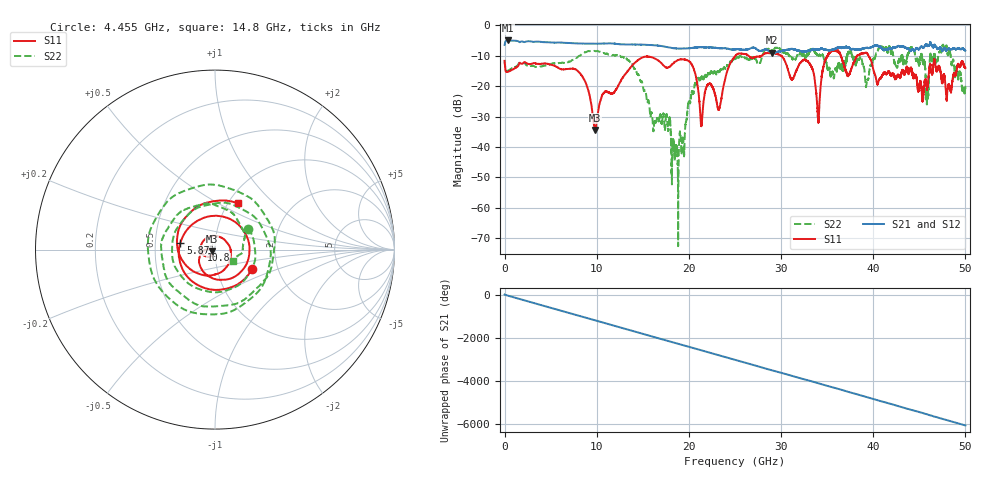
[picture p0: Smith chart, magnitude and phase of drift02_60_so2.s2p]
!Created with skrf (http://scikit-rf.org).
# Hz S RI R 50.0
!freq ReS11 ImS11 ReS21 ImS21 ReS12 ImS12 ReS22 ImS22
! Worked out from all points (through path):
!   10001 points, 300 kHz to 50 GHz, reference 50 ohm
!   highest |S21| = -5.04 dB at 325.3 MHz (marker M1); lowest = -9.0 dB at 28.98 GHz (marker M2)
!   group delay of S21, straight-line fit = 336 ps
!   lowest |S11| = -34.4 dB at 9.83 GHz (marker M3), VSWR 1.04, Z = 48.4 - j0.983 ohm
!   |S11| at or under -10 dB: start of sweep to 25.07 GHz; 29.97 GHz to 35.04 GHz (5.074 GHz wide, 15.6 % of centre); 39.48 GHz to end of sweep (the widest 3 of 11)
!   |S22| runs from -72.5 to -6.4 dB; largest |S21 - S12| = 0.021
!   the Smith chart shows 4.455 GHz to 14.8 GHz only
!   S11 on the Smith chart (normalised r, x): 4.455 GHz: 1.48, -0.33; 5.87 GHz: 0.68, +0.05; 10.8 GHz: 0.86, -0.00; 14.8 GHz: 1.11, +0.62
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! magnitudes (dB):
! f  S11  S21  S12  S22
! 300 kHz  -11.7  -6.5  -6.4  -11.6
! 325.3 MHz  -15.4  -5.0  -5.0  -15.0
! 4.455 GHz  -12.6  -5.6  -5.6  -13.3
! 5.87 GHz  -14.1  -5.7  -5.7  -12.5
! 8.335 GHz  -16.4  -6.0  -6.0  -9.6
! 9.83 GHz  -34.4  -6.1  -6.1  -8.5
! 10.8 GHz  -22.2  -6.0  -6.1  -9.2
! 14.8 GHz  -10.9  -6.4  -6.4  -18.5
! 16.67 GHz  -11.6  -6.7  -6.7  -31.1
! 18.67 GHz  -11.8  -7.7  -7.7  -40.0
! 20.37 GHz  -13.3  -7.5  -7.5  -22.0
! 21.37 GHz  -32.4  -7.2  -7.2  -16.9
! 23.31 GHz  -27.2  -7.5  -7.6  -15.6
! 25 GHz  -10.2  -7.9  -8.0  -11.2
! 28.98 GHz  -9.2  -9.0  -9.0  -8.3
! 33.34 GHz  -13.9  -8.1  -8.2  -8.0
! 34.02 GHz  -31.5  -7.9  -7.9  -10.1
! 35.54 GHz  -8.4  -8.1  -8.1  -15.2
! 41.67 GHz  -15.4  -7.6  -7.8  -7.4
! 45.86 GHz  -20.7  -6.7  -6.8  -20.1
! 47.76 GHz  -17.0  -7.5  -7.5  -7.6
! 50 GHz  -14.1  -8.4  -8.4  -20.3
